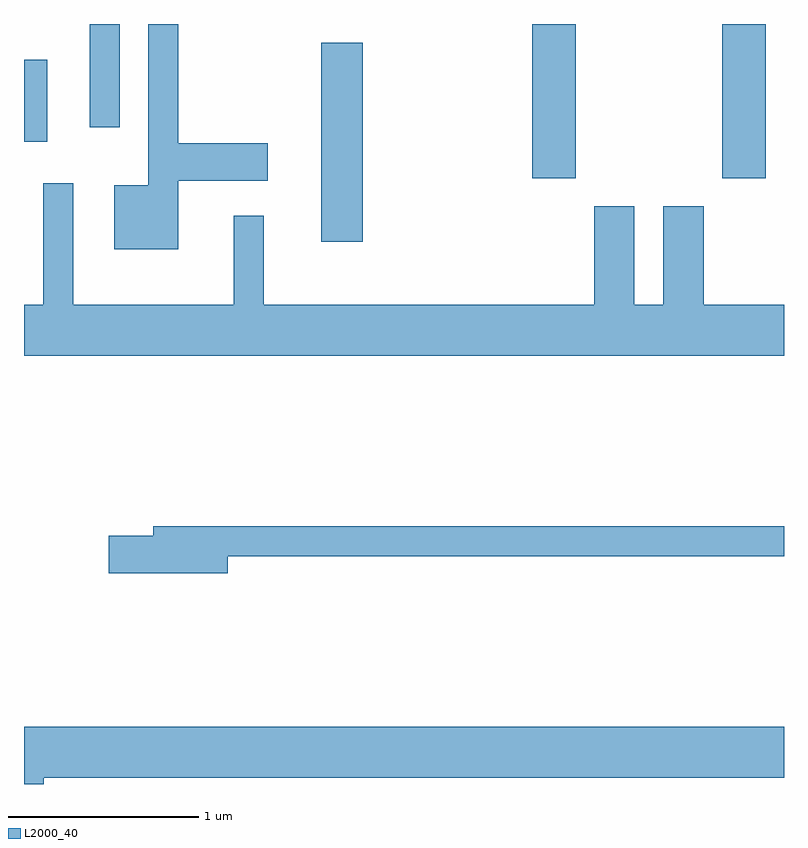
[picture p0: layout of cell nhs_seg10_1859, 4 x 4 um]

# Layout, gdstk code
import gdstk
lib = gdstk.Library(unit=1e-6, precision=1e-09)
def R(c, l, rs):  # rectangles x0, y0, x1, y1
    for r in rs: c.add(gdstk.rectangle(r[:2], r[2:], *l))
def P(c, l, *ps):  # polygons
    for p in ps: c.add(gdstk.Polygon(p, *l))
L2000_40 = (2000, 40)

nhs_seg10_1859 = lib.new_cell('nhs_seg10_1859')
R(nhs_seg10_1859, L2000_40, [(241.176,2143.376,241.394,2144.424), (242.286,2143.711,242.514,2144.522), (243.286,2143.711,243.514,2144.522), (239.611,2143.901,239.734,2144.334)])
P(nhs_seg10_1859, L2000_40, [(240.114,2144.522),(239.611,2144.522),(239.611,2144.521),(239.956,2144.521),(239.956,2143.978),(240.114,2143.978)],
  [(240.424,2143.696),(240.894,2143.696),(240.894,2143.894),(240.424,2143.894),(240.424,2144.522),(240.266,2144.522),(240.266,2143.674),(240.086,2143.674),(240.086,2143.336),(240.424,2143.336)],
  [(243.611,2143.044),(243.189,2143.044),(243.189,2143.564),(242.976,2143.564),(242.976,2143.044),(242.824,2143.044),(242.824,2143.564),(242.611,2143.564),(242.611,2143.044),(240.874,2143.044),(240.874,2143.513),(240.716,2143.513),(240.716,2143.044),(239.869,2143.044),(239.869,2143.683),(239.711,2143.683),(239.711,2143.044),(239.611,2143.044),(239.611,2142.776),(243.611,2142.776)],
  [(240.684,2141.721),(243.611,2141.721),(243.611,2141.879),(240.291,2141.879),(240.291,2141.829),(240.056,2141.829),(240.056,2141.631),(240.684,2141.631)],
  [(239.714,2140.556),(243.611,2140.556),(243.611,2140.824),(239.611,2140.824),(239.611,2140.522),(239.714,2140.522)])

lib.write_gds('nhs_seg10_1859.gds')
